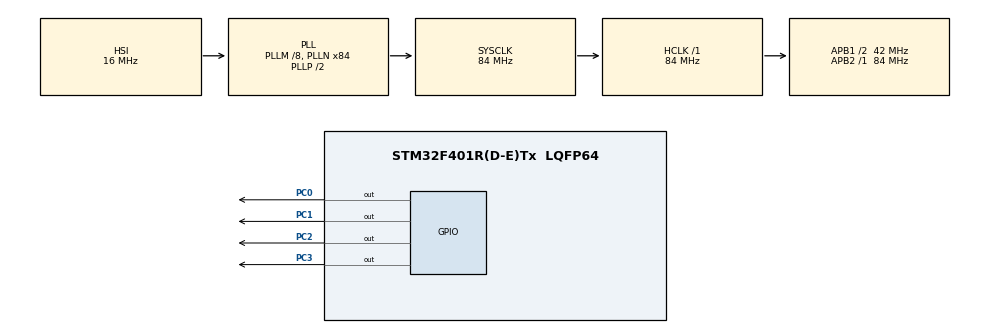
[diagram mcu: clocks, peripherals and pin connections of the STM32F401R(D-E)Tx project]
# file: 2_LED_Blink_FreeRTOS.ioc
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Mcu.Family=STM32F4
Mcu.Name=STM32F401R(D-E)Tx
Mcu.Package=LQFP64
NVIC.PriorityGroup=NVIC_PRIORITYGROUP_4
NVIC.TIM2_IRQn=true\:15\:0\:false\:false\:true\:false\:true\:true
NVIC.TimeBase=TIM2_IRQn
NVIC.TimeBaseIP=TIM2
PC0.Signal=GPIO_Output
PC1.Signal=GPIO_Output
PC2.Signal=GPIO_Output
PC3.Signal=GPIO_Output
ProjectManager.HeapSize=0x200
ProjectManager.StackSize=0x400
ProjectManager.TargetToolchain=STM32CubeIDE
RCC.48MHZClocksFreq_Value=42000000
RCC.AHBFreq_Value=84000000
RCC.APB1CLKDivider=RCC_HCLK_DIV2
RCC.APB1Freq_Value=42000000
RCC.APB1TimFreq_Value=84000000
RCC.APB2Freq_Value=84000000
RCC.APB2TimFreq_Value=84000000
RCC.CortexFreq_Value=84000000
RCC.HCLKFreq_Value=84000000
RCC.HSE_VALUE=25000000
RCC.HSI_VALUE=16000000
RCC.LSE_VALUE=32768
RCC.PLLM=8
RCC.PLLN=84
RCC.SYSCLKFreq_VALUE=84000000
RCC.SYSCLKSource=RCC_SYSCLKSOURCE_PLLCLK
RCC.VCOOutputFreq_Value=168000000
VP_SYS_VS_tim2.Mode=TIM2
board=custom

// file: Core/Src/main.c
/* USER CODE BEGIN Header */
/**
  ******************************************************************************
  * @file           : main.c
  * @brief          : Main program body
  ******************************************************************************
  * @attention
  *
  * Copyright (c) 2023 STMicroelectronics.
  * All rights reserved.
  *
  * This software is licensed under terms that can be found in the LICENSE file
  * in the root directory of this software component.
  * If no LICENSE file comes with this software, it is provided AS-IS.
  *
  ******************************************************************************
  */
/* USER CODE END Header */
#include "main.h"

/* USER CODE BEGIN Includes */
#include "FreeRTOS.h"
#include "task.h"
#include "stdio.h"

/* USER CODE END Includes */

/* USER CODE BEGIN PV */
TaskHandle_t Task1_Handle;
TaskHandle_t Task2_Handle;
TaskHandle_t Task3_Handle;
#define DWT_CTRL (*(volatile uint32_t*)0xE0001000)
BaseType_t status;
/* USER CODE END PV */

void SystemClock_Config(void);
static void MX_GPIO_Init(void);
/* USER CODE BEGIN PFP */
static void Task1_Handler(void *params);
static void Task2_Handler(void *params);
static void Task3_Handler(void *params);
/* USER CODE END PFP */

int main(void)
{

  /* MCU Configuration--------------------------------------------------------*/

  /* Reset of all peripherals, Initializes the Flash interface and the Systick. */
  HAL_Init();

  /* Configure the system clock */
  SystemClock_Config();

  /* Initialize all configured peripherals */
  MX_GPIO_Init();
  /* USER CODE BEGIN 2 */

  DWT_CTRL |= (1<<0);

  SEGGER_SYSVIEW_Conf();
  vSetVarulMaxPRIGROUPValue();
  SEGGER_SYSVIEW_Start();

/**********************************PREEMPTIVE IS DISABLED SO CO-OPERATIVE SCHEDULING IS WORKING********************/
status = xTaskCreate(Task1_Handler,"Task 1",configMINIMAL_STACK_SIZE,NULL,2,&Task1_Handle);

configASSERT(status == pdPASS); // Check if it is succesfully created

status = xTaskCreate(Task2_Handler,"Task 2",configMINIMAL_STACK_SIZE,NULL,2,&Task2_Handle);

configASSERT(status == pdPASS);  // Check if it is succesfully created

status = xTaskCreate(Task3_Handler,"Task 3",configMINIMAL_STACK_SIZE,NULL,2,&Task3_Handle);

configASSERT(status == pdPASS); // Check if it is succesfully created

vTaskStartScheduler();

  /* USER CODE END 2 */

  /* Infinite loop */
  while (1)
  {

  }
}

void SystemClock_Config(void)
{
  RCC_OscInitTypeDef RCC_OscInitStruct = {0};
  RCC_ClkInitTypeDef RCC_ClkInitStruct = {0};

  /** Configure the main internal regulator output voltage
  */
  __HAL_RCC_PWR_CLK_ENABLE();
  __HAL_PWR_VOLTAGESCALING_CONFIG(PWR_REGULATOR_VOLTAGE_SCALE2);

  /** Initializes the RCC Oscillators according to the specified parameters
  * in the RCC_OscInitTypeDef structure.
  */
  RCC_OscInitStruct.OscillatorType = RCC_OSCILLATORTYPE_HSI;
  RCC_OscInitStruct.HSIState = RCC_HSI_ON;
  RCC_OscInitStruct.HSICalibrationValue = RCC_HSICALIBRATION_DEFAULT;
  RCC_OscInitStruct.PLL.PLLState = RCC_PLL_ON;
  RCC_OscInitStruct.PLL.PLLSource = RCC_PLLSOURCE_HSI;
  RCC_OscInitStruct.PLL.PLLM = 8;
  RCC_OscInitStruct.PLL.PLLN = 84;
  RCC_OscInitStruct.PLL.PLLP = RCC_PLLP_DIV2;
  RCC_OscInitStruct.PLL.PLLQ = 4;
  if (HAL_RCC_OscConfig(&RCC_OscInitStruct) != HAL_OK)
  {
    Error_Handler();
  }

  /** Initializes the CPU, AHB and APB buses clocks
  */
  RCC_ClkInitStruct.ClockType = RCC_CLOCKTYPE_HCLK|RCC_CLOCKTYPE_SYSCLK
                              |RCC_CLOCKTYPE_PCLK1|RCC_CLOCKTYPE_PCLK2;
  RCC_ClkInitStruct.SYSCLKSource = RCC_SYSCLKSOURCE_PLLCLK;
  RCC_ClkInitStruct.AHBCLKDivider = RCC_SYSCLK_DIV1;
  RCC_ClkInitStruct.APB1CLKDivider = RCC_HCLK_DIV2;
  RCC_ClkInitStruct.APB2CLKDivider = RCC_HCLK_DIV1;

  if (HAL_RCC_ClockConfig(&RCC_ClkInitStruct, FLASH_LATENCY_2) != HAL_OK)
  {
    Error_Handler();
  }
}

static void MX_GPIO_Init(void)
{
  GPIO_InitTypeDef GPIO_InitStruct = {0};

  /* GPIO Ports Clock Enable */
  __HAL_RCC_GPIOC_CLK_ENABLE();

  /*Configure GPIO pin Output Level */
  HAL_GPIO_WritePin(GPIOC, GPIO_PIN_0|GPIO_PIN_1|GPIO_PIN_2|GPIO_PIN_3, GPIO_PIN_RESET);

  /*Configure GPIO pins : PC0 PC1 PC2 PC3 */
  GPIO_InitStruct.Pin = GPIO_PIN_0|GPIO_PIN_1|GPIO_PIN_2|GPIO_PIN_3;
  GPIO_InitStruct.Mode = GPIO_MODE_OUTPUT_PP;
  GPIO_InitStruct.Pull = GPIO_NOPULL;
  GPIO_InitStruct.Speed = GPIO_SPEED_FREQ_LOW;
  HAL_GPIO_Init(GPIOC, &GPIO_InitStruct);

}

/* USER CODE BEGIN 4 */
static void Task1_Handler(void *params)
{
   TickType_t Last_Wakeup_Time;
   Last_Wakeup_Time = xTaskGetTickCount();

	while(1)
	{
       HAL_GPIO_TogglePin(GPIOC,GPIO_PIN_0);
       vTaskDelayUntil(&Last_Wakeup_Time,pdMS_TO_TICKS(1000));

	}

}
static void Task2_Handler(void *params)
{
	   TickType_t Last_Wakeup_Time;
	   Last_Wakeup_Time = xTaskGetTickCount();
	while(1)
	{
	    HAL_GPIO_TogglePin(GPIOC,GPIO_PIN_1);
	    vTaskDelayUntil(&Last_Wakeup_Time,pdMS_TO_TICKS(800));
	}
}
static void Task3_Handler(void *params)
{
	   TickType_t Last_Wakeup_Time;
	   Last_Wakeup_Time = xTaskGetTickCount();
	while(1)
	{
	    HAL_GPIO_TogglePin(GPIOC,GPIO_PIN_2|GPIO_PIN_3);
	    vTaskDelayUntil(&Last_Wakeup_Time,pdMS_TO_TICKS(4000));
	}
}
/* USER CODE END 4 */

void HAL_TIM_PeriodElapsedCallback(TIM_HandleTypeDef *htim)
{
  if (htim->Instance == TIM2) {
    HAL_IncTick();
  }
}

void Error_Handler(void)
{
  __disable_irq();
  while (1)
  {
  }
}
